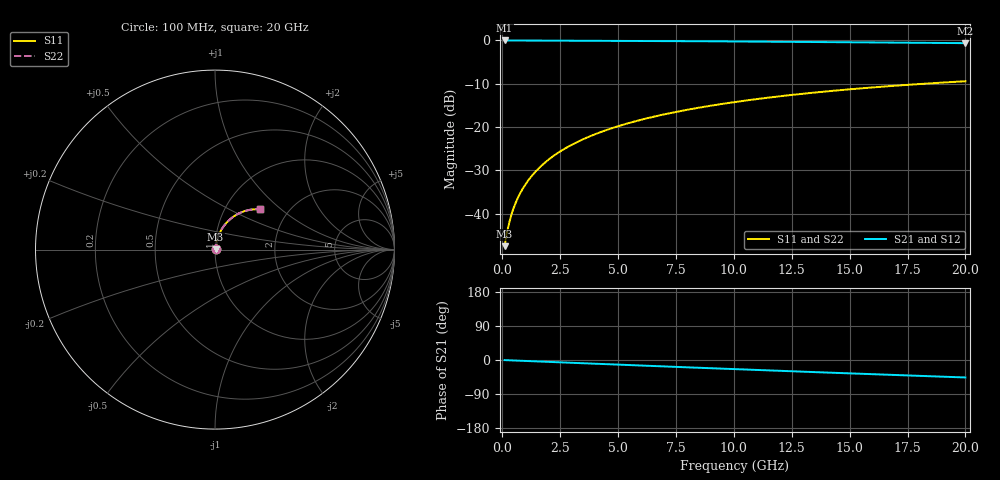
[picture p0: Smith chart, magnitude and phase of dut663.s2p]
! Touchstone file exported from HFSS 2026.1.0
!  File:  C:/ffzhzh/LocalFiles/Ansys_Project_Files/temp_train_TMRDL_663_1783009774_55676.aedt
!  Generated:  12:30:58 AM Jul  3, 2026
!  Design:  TMRDL
!  Project:  temp_train_TMRDL_663_1783009774_55676
! Variables:
!  h_bsmrdl = 2um
!  h_ox = 20um
!  h_rdl = 5um
!  h_sub = 80um
!  h_tmrdl = 3.63um
!  h_tsv = 80um
!  h_via = 3um
!  l_bsmrdl = 300um
!  l_sub = 1131.39um
!  l_tmrdl = 731.39um
!  m_sub = 200um
!  pitch = 39.57um
!  r_tsv = 6um
!  s_tmrdl = 10um
!  w_bsmrdl = 18um
!  w_sub = 500um
!  w_tmrdl = 21.76um
!  x_tsv_center1 = 742.27um
!  x_tsv_center2 = 1060.27um
!  x_tsv_center3 = 1813.42um
!  x_tsv_center4 = 2131.42um
!  x_tsv_center5 = 2884.57um
!  x_tsv_center6 = 3202.57um
# GHz S MA R 50.000000
! Terminal data exported
! Port[1] = TM_RDL1_1_T1
! Port[2] = TM_RDL1_1_T2
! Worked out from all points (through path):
!   200 points, 100 MHz to 20 GHz, reference 50 ohm
!   highest |S21| = -0.03 dB at 100 MHz (marker M1); lowest = -0.7 dB at 20 GHz (marker M2)
!   group delay of S21, straight-line fit = 6.4 ps
!   lowest |S11| = -47.5 dB at 100 MHz (marker M3), VSWR 1.01, Z = 50.4 + j0.241 ohm
!   |S11| at or under -10 dB: start of sweep to 18.24 GHz
!   |S22| runs from -47.5 to -9.4 dB; largest |S21 - S12| = 3.1e-15
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0.1  0.004236 34.4  0.9965 -0.3  0.9965 -0.3  0.004236 34.4
! Gamma 0 0 0 0
! Port Impedance 50 0 50 0
0.2  0.005986 51.5  0.9963 -0.5  0.9963 -0.5  0.005986 51.5
0.3  0.007935 59.7  0.9961 -0.8  0.9961 -0.8  0.007935 59.7
0.4  0.009903 64.5  0.9959 -1.0  0.9959 -1.0  0.009903 64.5
0.5  0.01187 67.7  0.9957 -1.3  0.9957 -1.3  0.01187 67.7
0.6  0.01384 70.1  0.9956 -1.5  0.9956 -1.5  0.01384 70.1
0.8  0.0178 73.2  0.9954 -2.0  0.9954 -2.0  0.0178 73.2
1.1  0.02383 75.9  0.9951 -2.7  0.9951 -2.7  0.02383 75.9
1.3  0.02788 76.9  0.9949 -3.2  0.9949 -3.2  0.02788 76.9
1.6  0.03399 77.7  0.9946 -4.0  0.9946 -4.0  0.03399 77.7
2.1  0.04419 78.1  0.9939 -5.2  0.9939 -5.2  0.04419 78.1
2.7  0.05641 77.8  0.993 -6.7  0.993 -6.7  0.05641 77.8
3.5  0.07257 76.7  0.9915 -8.6  0.9915 -8.6  0.07257 76.7
4.2  0.08652 75.4  0.9899 -10.3  0.9899 -10.3  0.08652 75.4
5  0.1022 73.8  0.9878 -12.3  0.9878 -12.3  0.1022 73.8
5.9  0.1196 71.9  0.9852 -14.4  0.9852 -14.4  0.1196 71.9
6.8  0.1365 70.0  0.9823 -16.6  0.9823 -16.6  0.1365 70.0
8.3  0.1639 66.7  0.9772 -20.1  0.9772 -20.1  0.1639 66.7
10.1  0.1953 62.7  0.9704 -24.3  0.9704 -24.3  0.1953 62.7
13.4  0.2487 55.6  0.9568 -31.8  0.9568 -31.8  0.2487 55.6
16.7  0.2962 48.6  0.9423 -39.0  0.9423 -39.0  0.2962 48.5
20  0.3375 41.7  0.9279 -46.1  0.9279 -46.1  0.3375 41.7
